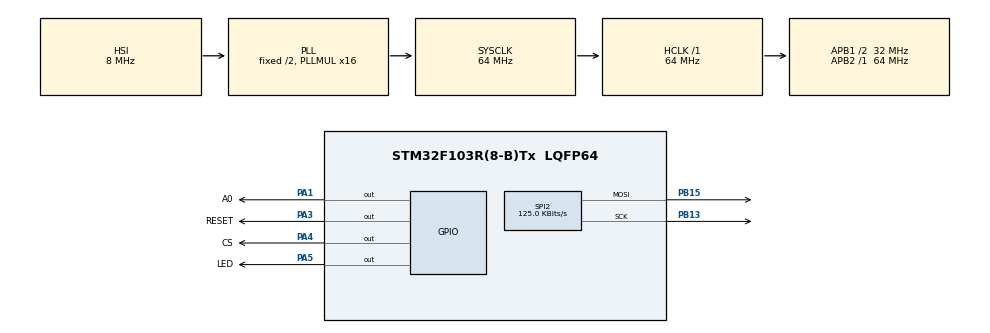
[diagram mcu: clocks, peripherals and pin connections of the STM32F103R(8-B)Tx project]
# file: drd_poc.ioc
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Mcu.Family=STM32F1
Mcu.Name=STM32F103R(8-B)Tx
Mcu.Package=LQFP64
NVIC.PriorityGroup=NVIC_PRIORITYGROUP_4
PA1.GPIO_Label=A0
PA1.Signal=GPIO_Output
PA13.Mode=Serial_Wire
PA13.Signal=SYS_JTMS-SWDIO
PA14.Mode=Serial_Wire
PA14.Signal=SYS_JTCK-SWCLK
PA3.GPIO_Label=RESET
PA3.Signal=GPIO_Output
PA4.GPIO_Label=CS
PA4.Signal=GPIO_Output
PA5.GPIO_Label=LED
PA5.Signal=GPIO_Output
PB13.Mode=TX_Only_Simplex_Unidirect_Master
PB13.Signal=SPI2_SCK
PB15.Mode=TX_Only_Simplex_Unidirect_Master
PB15.Signal=SPI2_MOSI
ProjectManager.HeapSize=0x200
ProjectManager.StackSize=0x400
ProjectManager.TargetToolchain=STM32CubeIDE
RCC.AHBFreq_Value=64000000
RCC.APB1CLKDivider=RCC_HCLK_DIV2
RCC.APB1Freq_Value=32000000
RCC.APB1TimFreq_Value=64000000
RCC.APB2Freq_Value=64000000
RCC.APB2TimFreq_Value=64000000
RCC.HCLKFreq_Value=64000000
RCC.PLLMUL=RCC_PLL_MUL16
RCC.SYSCLKFreq_VALUE=64000000
RCC.SYSCLKSource=RCC_SYSCLKSOURCE_PLLCLK
RCC.USBFreq_Value=64000000
SPI2.BaudRatePrescaler=SPI_BAUDRATEPRESCALER_256
SPI2.CalculateBaudRate=125.0 KBits/s
SPI2.Direction=SPI_DIRECTION_2LINES
SPI2.Mode=SPI_MODE_MASTER
SPI2.VirtualType=VM_MASTER
board=custom

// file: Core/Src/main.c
/* USER CODE BEGIN Header */
/**
  ******************************************************************************
  * @file           : main.c
  * @brief          : Main program body
  ******************************************************************************
  * @attention
  *
  * Copyright (c) 2025 STMicroelectronics.
  * All rights reserved.
  *
  * This software is licensed under terms that can be found in the LICENSE file
  * in the root directory of this software component.
  * If no LICENSE file comes with this software, it is provided AS-IS.
  *
  ******************************************************************************
  */
/* USER CODE END Header */
#include "main.h"
#include "spi.h"
#include "gpio.h"

/* USER CODE BEGIN PV */
unsigned char NHD[] = {
    0x00, 0x00, 0x00, 0x00, 0x00, 0x00, 0x00, 0x00, 0x00, 0x00, 0x00, 0x00, 0x00, 0x00, 0x00, 0x00,
    0x00, 0x00, 0x00, 0x00, 0x00, 0x00, 0x00, 0x00, 0x00, 0x00, 0x00, 0x00, 0x00, 0x00, 0x00, 0x00,
    0x00, 0x00, 0x00, 0x00, 0x00, 0x00, 0x00, 0x00, 0x00, 0x00, 0x00, 0x00, 0x00, 0x00, 0x00, 0x00,
    0x00, 0x00, 0x00, 0x00, 0x00, 0x00, 0x00, 0x00, 0x00, 0x00, 0x00, 0x00, 0x00, 0x00, 0x00, 0x00,
    0x00, 0x00, 0x00, 0x00, 0x00, 0x00, 0x00, 0x00, 0x00, 0x00, 0x00, 0x00, 0x00, 0x00, 0x00, 0x00,
    0x00, 0x00, 0x00, 0x00, 0x00, 0x00, 0x00, 0x00, 0x00, 0x00, 0x00, 0x00, 0x00, 0x00, 0x00, 0x00,
    0x00, 0x00, 0x00, 0x00, 0x00, 0x00, 0x00, 0x00, 0x00, 0x00, 0x00, 0x00, 0x00, 0x00, 0x00, 0x00,
    0x00, 0x00, 0x00, 0x00, 0x00, 0x00, 0x00, 0x00, 0x00, 0x00, 0x00, 0x00, 0x00, 0x00, 0x00, 0x00,
    0x00, 0x00, 0x00, 0x00, 0x00, 0x00, 0x00, 0x00, 0x00, 0x00, 0x00, 0x00, 0x00, 0x00, 0x00, 0x00,
    0x00, 0x00, 0x00, 0x00, 0x00, 0x00, 0x00, 0x00, 0x00, 0x00, 0x00, 0x00, 0x00, 0x00, 0x00, 0x00,
    0x00, 0x00, 0x00, 0x00, 0x00, 0x00, 0x00, 0x00, 0x00, 0x00, 0x00, 0x00, 0x00, 0x00, 0x00, 0x00,
    0x00, 0x00, 0x00, 0x00, 0x00, 0x00, 0x00, 0x00, 0x00, 0x00, 0x00, 0x00, 0x00, 0x00, 0x00, 0x00,
    0x00, 0x00, 0x00, 0x00, 0x00, 0x00, 0x00, 0x00, 0x00, 0x00, 0x00, 0x00, 0x00, 0x00, 0x00, 0x00,
    0x00, 0x00, 0x00, 0x00, 0x00, 0x00, 0x00, 0x00, 0x00, 0x00, 0x00, 0x00, 0x00, 0x00, 0x00, 0x00,
    0x00, 0x00, 0x00, 0x00, 0x00, 0x00, 0x00, 0x00, 0x00, 0x00, 0x00, 0x00, 0x00, 0x00, 0x00, 0x00,
    0x00, 0x00, 0x00, 0x00, 0x00, 0x00, 0x00, 0x00, 0x00, 0x00, 0x00, 0x00, 0x00, 0x00, 0x00, 0x00,
    0x00, 0x00, 0x00, 0x00, 0x00, 0x00, 0x00, 0x00, 0x00, 0x00, 0x00, 0x00, 0x00, 0x00, 0x00, 0x00,
    0x00, 0x00, 0x00, 0x00, 0x00, 0x00, 0x00, 0x00, 0x00, 0x00, 0x00, 0x00, 0x00, 0x00, 0x00, 0x00,
    0x00, 0x00, 0x00, 0x00, 0x00, 0x00, 0x00, 0x00, 0x00, 0x00, 0x00, 0x00, 0x00, 0x00, 0x00, 0x00,
    0x00, 0x00, 0x00, 0x00, 0x00, 0x00, 0x00, 0x00, 0x00, 0x00, 0x00, 0x00, 0x00, 0x00, 0x00, 0x00,
    0x00, 0x00, 0x00, 0x00, 0x00, 0x00, 0x00, 0x00, 0x00, 0x00, 0x00, 0x00, 0x00, 0x00, 0x00, 0x00,
    0x00, 0x00, 0x00, 0x00, 0x00, 0x00, 0x00, 0x00, 0x00, 0x00, 0x00, 0x00, 0x00, 0x00, 0x00, 0x00,
    0x00, 0x00, 0x00, 0x00, 0x00, 0x00, 0x00, 0x00, 0x00, 0x00, 0x00, 0x00, 0x00, 0x00, 0x00, 0x00,
    0x00, 0x00, 0x00, 0x00, 0x00, 0x00, 0x00, 0x00, 0x00, 0x00, 0x00, 0x00, 0x00, 0x00, 0x00, 0x00,
    0x00, 0x00, 0x00, 0x00, 0x00, 0x00, 0x00, 0x00, 0x00, 0x00, 0x00, 0x00, 0x00, 0x00, 0x00, 0x00,
    0x00, 0x80, 0x80, 0x80, 0x80, 0x00, 0x00, 0x1E, 0x1E, 0x3F, 0x3F, 0x1E, 0x04, 0x0C, 0x8C, 0x4C,
    0x4C, 0x2C, 0x6C, 0x6C, 0x6C, 0x6C, 0x6C, 0x4C, 0x00, 0xFC, 0x1C, 0x38, 0xC0, 0xFC, 0xFC, 0x00,
    0x00, 0x00, 0xF8, 0xFC, 0x24, 0x24, 0x24, 0x24, 0x00, 0x00, 0x00, 0x1C, 0xF8, 0x80, 0xE0, 0x3C,
    0x3C, 0xE0, 0x80, 0xE0, 0x3C, 0x00, 0x00, 0x00, 0xFC, 0xFC, 0x20, 0x20, 0x20, 0xFC, 0x00, 0x00,
    0x00, 0x00, 0xE0, 0xFC, 0xCC, 0xFC, 0xE0, 0x80, 0x00, 0x00, 0x04, 0x3C, 0xF0, 0x80, 0xC0, 0x78,
    0x1C, 0x04, 0x00, 0x60, 0xF8, 0xAC, 0x24, 0x24, 0x24, 0x00, 0x00, 0x00, 0x00, 0xFC, 0x1C, 0x38,
    0xE0, 0x80, 0xFC, 0x00, 0x00, 0x00, 0x00, 0x00, 0x00, 0x00, 0x00, 0x00, 0x00, 0x00, 0x00, 0x00,
    0x00, 0x00, 0x00, 0x00, 0x00, 0x00, 0x00, 0x00, 0x00, 0x00, 0xC0, 0xE0, 0xE0, 0xE0, 0xE0, 0x40,
    0x86, 0x8F, 0x9F, 0x9F, 0x9F, 0x83, 0x84, 0x84, 0x84, 0x84, 0x84, 0x84, 0xC2, 0x63, 0x39, 0x0C,
    0x04, 0x02, 0x03, 0x03, 0x03, 0x03, 0x03, 0x02, 0x00, 0xFB, 0x18, 0x18, 0x18, 0x3B, 0xF3, 0x00,
    0x00, 0x00, 0xF9, 0xF9, 0x03, 0x03, 0x03, 0x73, 0x78, 0x58, 0x58, 0xD8, 0xD9, 0x83, 0x03, 0x00,
    0x00, 0xFB, 0xFB, 0x99, 0x98, 0xD8, 0xF8, 0x20, 0x03, 0x03, 0xF8, 0xF8, 0x00, 0x03, 0x00, 0x00,
    0x00, 0x03, 0x81, 0xE0, 0xB8, 0xB8, 0xE1, 0x83, 0x02, 0x00, 0x00, 0x18, 0x30, 0xC3, 0xE3, 0x38,
    0x18, 0x00, 0x00, 0x00, 0x01, 0x01, 0x03, 0x03, 0x03, 0x00, 0x00, 0x00, 0x00, 0x03, 0x00, 0x00,
    0x00, 0x03, 0x03, 0x00, 0x00, 0x00, 0x00, 0x00, 0x00, 0x00, 0x00, 0x00, 0x00, 0x00, 0x00, 0x00,
    0x00, 0x00, 0x00, 0x00, 0x00, 0x00, 0x00, 0x00, 0x00, 0x00, 0x01, 0x03, 0x03, 0x03, 0x03, 0x01,
    0x01, 0x01, 0x01, 0x01, 0x01, 0x01, 0x01, 0x01, 0x01, 0x01, 0x01, 0x00, 0x00, 0x00, 0x00, 0x00,
    0x00, 0x00, 0x00, 0x00, 0x00, 0x00, 0x00, 0x00, 0x00, 0x07, 0x06, 0x06, 0x06, 0x03, 0x03, 0x00,
    0x00, 0x00, 0x07, 0x07, 0x00, 0x00, 0x00, 0x02, 0x06, 0x06, 0x06, 0x06, 0x03, 0x03, 0x00, 0x00,
    0x00, 0x07, 0x07, 0x00, 0x00, 0x00, 0x00, 0x00, 0x00, 0x00, 0x01, 0x03, 0x06, 0x06, 0x06, 0x00,
    0x00, 0x04, 0x07, 0x01, 0x01, 0x01, 0x01, 0x07, 0x06, 0x00, 0x00, 0x00, 0x00, 0x07, 0x03, 0x00,
    0x00, 0x00, 0x00, 0x00, 0x00, 0x00, 0x00, 0x00, 0x00, 0x00, 0x00, 0x00, 0x00, 0x00, 0x00, 0x00,
    0x00, 0x00, 0x00, 0x00, 0x00, 0x00, 0x00, 0x00, 0x00, 0x00, 0x00, 0x00, 0x00, 0x00, 0x00, 0x00,
    0x00, 0x00, 0x00, 0x00, 0x00, 0x00, 0x00, 0x00, 0x00, 0x00, 0x00, 0x00, 0x00, 0x00, 0x00, 0x00,
    0x00, 0x00, 0x00, 0x00, 0x00, 0x00, 0x00, 0x00, 0x00, 0x00, 0x00, 0x00, 0x00, 0x00, 0x00, 0x00,
    0x00, 0x00, 0x00, 0x00, 0x00, 0x00, 0x00, 0x00, 0x00, 0x00, 0x00, 0x00, 0x00, 0x00, 0x00, 0x00,
    0x00, 0x00, 0x00, 0x00, 0x00, 0x00, 0x00, 0x00, 0x00, 0x00, 0x00, 0x00, 0x00, 0x00, 0x00, 0x00,
    0x00, 0x00, 0x00, 0x00, 0x00, 0x00, 0x00, 0x00, 0x00, 0x00, 0x00, 0x00, 0x00, 0x00, 0x00, 0x00,
    0x00, 0x00, 0x00, 0x00, 0x00, 0x00, 0x00, 0x00, 0x00, 0x00, 0x00, 0x00, 0x00, 0x00, 0x00, 0x00,
    0x00, 0x00, 0x00, 0x00, 0x00, 0x00, 0x00, 0x00, 0x00, 0x00, 0x00, 0x00, 0x00, 0x00, 0x00, 0x00,
    0x00, 0x00, 0x00, 0x00, 0x00, 0x00, 0x00, 0x00, 0x00, 0x00, 0x00, 0x00, 0x00, 0x00, 0x00, 0x00,
    0x00, 0x00, 0x00, 0x00, 0x00, 0x00, 0x00, 0x00, 0x00, 0x00, 0x00, 0x00, 0x00, 0x00, 0x00, 0x00,
    0x00, 0x00, 0x00, 0x00, 0x00, 0x00, 0x00, 0x00, 0x00, 0x00, 0x00, 0x00, 0x00, 0x00, 0x00, 0x00,
    0x00, 0x00, 0x00, 0x00, 0x00, 0x00, 0x00, 0x00, 0x00, 0x00, 0x00, 0x00, 0x00, 0x00, 0x00, 0x00,
    0x00, 0x00, 0x00, 0x00, 0x00, 0x00, 0x00, 0x00, 0x00, 0x00, 0x00, 0x00, 0x00, 0x00, 0x00, 0x00,
    0x00, 0x00, 0x00, 0x00, 0x00, 0x00, 0x00, 0x00, 0x00, 0x00, 0x00, 0x00, 0x00, 0x00, 0x00, 0x00,
    0x00, 0x00, 0x00, 0x00, 0x00, 0x00, 0x00, 0x00, 0x00, 0x00, 0x00, 0x00, 0x00, 0x00, 0x00, 0x00,
    0x00, 0x00, 0x00, 0x00, 0x00, 0x00, 0x00, 0x00, 0x00, 0x00, 0x00, 0x00, 0x00, 0x00, 0x00, 0x00,
    0x00, 0x00, 0x00, 0x00, 0x00, 0x00, 0x00, 0x00, 0x00, 0x00, 0x00, 0x00, 0x00, 0x00, 0x00, 0x00};
/* USER CODE END PV */

void SystemClock_Config(void);
/* USER CODE BEGIN PFP */
void comm_write(uint8_t command);
void test_display_toggle();
void setup_display();
void data_write(uint8_t d);
void DispPic(uint8_t *lcd_string);
void ClearLCD(uint8_t *lcd_string);
/* USER CODE END PFP */

int main(void)
{

  /* MCU Configuration--------------------------------------------------------*/

  /* Reset of all peripherals, Initializes the Flash interface and the Systick. */
  HAL_Init();

  /* Configure the system clock */
  SystemClock_Config();

  /* Initialize all configured peripherals */
  MX_GPIO_Init();
  MX_SPI2_Init();
  /* USER CODE BEGIN 2 */

	  // Configure GPIOs as output (already set in CubeMX for HAL)
	  HAL_GPIO_WritePin(RESET_GPIO_Port, RESET_Pin, GPIO_PIN_RESET);
	  HAL_Delay(100); // Wait 100 ms
	  HAL_GPIO_WritePin(RESET_GPIO_Port, RESET_Pin, GPIO_PIN_SET);
	  HAL_Delay(100); // Wait another 100 ms

	  setup_display();

	  HAL_GPIO_WritePin(CS_GPIO_Port, CS_Pin, GPIO_PIN_SET);    // Chip Select High

	  HAL_GPIO_WritePin(LED_GPIO_Port, LED_Pin, GPIO_PIN_RESET);
  /* USER CODE END 2 */

  /* Infinite loop */
  /* USER CODE BEGIN WHILE */
  while (1)
  {
	     ClearLCD(NHD); // clear LCD
	     HAL_Delay(1000);
	     DispPic(NHD); // Show Image
	     HAL_Delay(3000);
	     comm_write(0xA5); // Turn all points ON
	     HAL_Delay(1000);
	     comm_write(0xA4); // Revert to Normal Display
	     HAL_Delay(1000);
    /* USER CODE END WHILE */

  }
}

void SystemClock_Config(void)
{
  RCC_OscInitTypeDef RCC_OscInitStruct = {0};
  RCC_ClkInitTypeDef RCC_ClkInitStruct = {0};

  /** Initializes the RCC Oscillators according to the specified parameters
  * in the RCC_OscInitTypeDef structure.
  */
  RCC_OscInitStruct.OscillatorType = RCC_OSCILLATORTYPE_HSI;
  RCC_OscInitStruct.HSIState = RCC_HSI_ON;
  RCC_OscInitStruct.HSICalibrationValue = RCC_HSICALIBRATION_DEFAULT;
  RCC_OscInitStruct.PLL.PLLState = RCC_PLL_ON;
  RCC_OscInitStruct.PLL.PLLSource = RCC_PLLSOURCE_HSI_DIV2;
  RCC_OscInitStruct.PLL.PLLMUL = RCC_PLL_MUL16;
  if (HAL_RCC_OscConfig(&RCC_OscInitStruct) != HAL_OK)
  {
    Error_Handler();
  }

  /** Initializes the CPU, AHB and APB buses clocks
  */
  RCC_ClkInitStruct.ClockType = RCC_CLOCKTYPE_HCLK|RCC_CLOCKTYPE_SYSCLK
                              |RCC_CLOCKTYPE_PCLK1|RCC_CLOCKTYPE_PCLK2;
  RCC_ClkInitStruct.SYSCLKSource = RCC_SYSCLKSOURCE_PLLCLK;
  RCC_ClkInitStruct.AHBCLKDivider = RCC_SYSCLK_DIV1;
  RCC_ClkInitStruct.APB1CLKDivider = RCC_HCLK_DIV2;
  RCC_ClkInitStruct.APB2CLKDivider = RCC_HCLK_DIV1;

  if (HAL_RCC_ClockConfig(&RCC_ClkInitStruct, FLASH_LATENCY_2) != HAL_OK)
  {
    Error_Handler();
  }
}

/* USER CODE BEGIN 4 */
// Function to send a command via SPI
void comm_write(uint8_t cmd)
{
    HAL_GPIO_WritePin(CS_GPIO_Port, CS_Pin, GPIO_PIN_RESET);  // Chip Select Low
    HAL_GPIO_WritePin(A0_GPIO_Port, A0_Pin, GPIO_PIN_RESET);  // A0 = 0 for command

    // Send the command byte via SPI
    HAL_StatusTypeDef return_value = HAL_SPI_Transmit(&hspi2, (uint8_t *) &cmd, 1, HAL_MAX_DELAY);

    if(return_value == HAL_OK){
       	HAL_GPIO_TogglePin(LED_GPIO_Port, LED_Pin);
    }

    HAL_GPIO_WritePin(CS_GPIO_Port, CS_Pin, GPIO_PIN_SET);    // Chip Select High
}

// Main function to test toggling points
void test_display_toggle() {
    // Turn all points ON
    comm_write(0xAF);
    HAL_Delay(1000); // Delay for 1 second

    // Revert to Normal Display
    comm_write(0xAE);
    HAL_Delay(1000); // Delay for 1 second
}

void setup_display()
{
    // ADC Select
    comm_write(0xA0); // A0 = 0 for command

    // Display OFF
    comm_write(0xAE);

    // COM Direction Scan
    comm_write(0xC8);

    // LCD Bias Set
    comm_write(0xA2);

    // Power Control Set
    comm_write(0x2F);

    // Resistor Ratio Set
    comm_write(0x26);

    // Electronic Volume Command (Set Contrast)
    comm_write(0x81);

    // Electronic Volume Value (Contrast Value)
    comm_write(0x11);

    // Display ON
    comm_write(0xAF);
}

void data_write(uint8_t data)
{
    HAL_GPIO_WritePin(CS_GPIO_Port, CS_Pin, GPIO_PIN_RESET);  // Chip Select Low
    HAL_GPIO_WritePin(A0_GPIO_Port, A0_Pin, GPIO_PIN_SET);    // A0 = 1 for data

    // Send the data byte via SPI
    HAL_StatusTypeDef return_value = HAL_SPI_Transmit(&hspi2, (uint8_t *) &data, 1, HAL_MAX_DELAY);

    if(return_value == HAL_OK){
      HAL_GPIO_TogglePin(LED_GPIO_Port, LED_Pin);
    }

    HAL_GPIO_WritePin(CS_GPIO_Port, CS_Pin, GPIO_PIN_SET);    // Chip Select High
}

void DispPic(uint8_t *lcd_string)
{
    uint8_t i, j;
    uint8_t page = 0xB0; // Start at page 0xB0

    comm_write(0xAE); // Display OFF
    comm_write(0x40); // Display start address + 0x40

    for (i = 0; i < 8; i++) // 64-pixel display height / 8 pixels per page = 8 pages
    {
        comm_write(page); // Send page address
        comm_write(0x10); // Set column address upper 4 bits + 0x10
        comm_write(0x00); // Set column address lower 4 bits + 0x00

        for (j = 0; j < 128; j++) // 128 columns wide
        {
            data_write(*lcd_string); // Send picture data byte by byte
            lcd_string++;            // Move to the next byte in the image data
        }

        page++; // After completing one page (128 columns), move to the next
    }

    comm_write(0xAF); // Display ON
}

void ClearLCD(uint8_t *lcd_string)
{
    uint8_t i, j;
    uint8_t page = 0xB0; // Start at page 0xB0

    comm_write(0xAE); // Display OFF
    comm_write(0x40); // Display start address + 0x40

    for (i = 0; i < 8; i++) // 64-pixel display height / 8 pixels per page = 8 pages
    {
        comm_write(page); // Send page address
        comm_write(0x10); // Set column address upper 4 bits + 0x10
        comm_write(0x00); // Set column address lower 4 bits + 0x00

        for (j = 0; j < 128; j++) // 128 columns wide
        {
            data_write(0x00); // Write 0x00 (clear pixels)
            lcd_string++;     // Increment the buffer pointer (optional)
        }

        page++; // Move to the next page
    }

    comm_write(0xAF); // Display ON
}

/* USER CODE END 4 */

void Error_Handler(void)
{
  __disable_irq();
  while (1)
  {
  }
}
